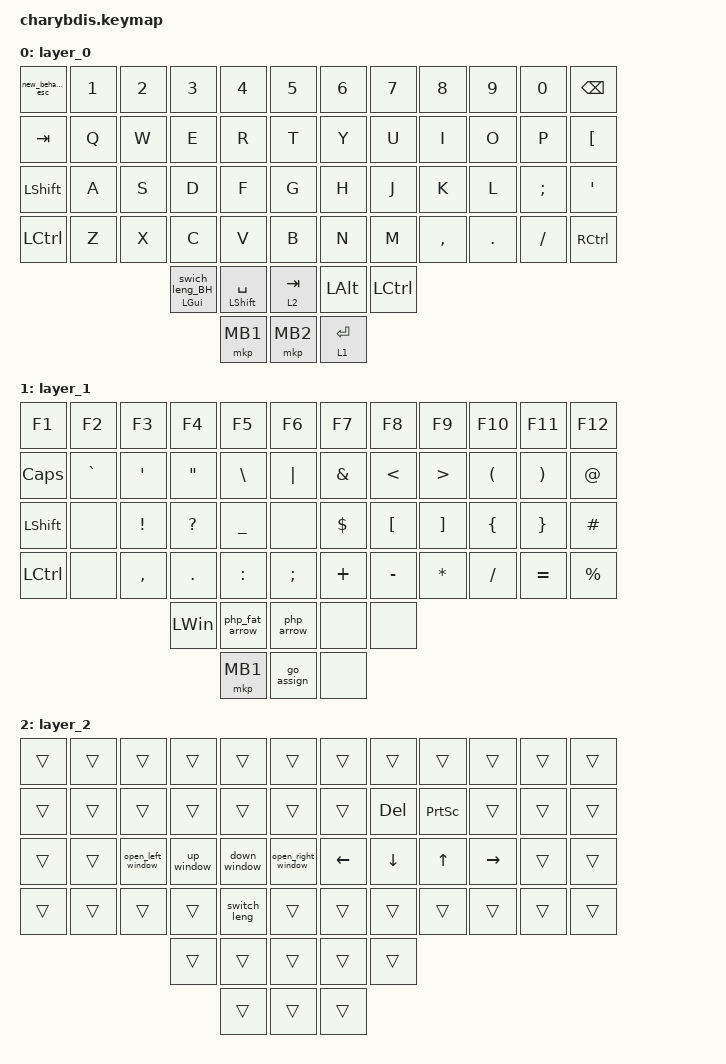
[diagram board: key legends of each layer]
#include <dt-bindings/zmk/mouse.h>
#include <behaviors.dtsi>
#include <dt-bindings/zmk/keys.h>
#include <dt-bindings/zmk/pointing.h>

&lt {
    tapping-term-ms = <200>;
    flavor = "balanced";
    quick-tap-ms = <150>;
};

/ {
    behaviors {
        swich_leng_BH: swich_leng_BH {
            compatible = "zmk,behavior-tap-dance";
            label = "SWICH_LENG_BH";
            #binding-cells = <0>;
            bindings = <&kp LGUI>, <&switch_leng>;
        };

        new_behavior_esc: new_behavior_esc {
            compatible = "zmk,behavior-tap-dance";
            label = "NEW_BEHAVIOR_ESC";
            #binding-cells = <0>;
            bindings = <&kp ESCAPE>, <&kp TILDE>;
        };

        space_and_hold_shift: space_and_hold_shift {
            compatible = "zmk,behavior-hold-tap";
            label = "SPACE_AND_HOLD_SHIFT";
            bindings = <&kp>, <&kp>;

            #binding-cells = <2>;
            tapping-term-ms = <200>;
            quick-tap-ms = <190>;
            flavor = "balanced";
        };

        switch_lang_and_hold: switch_lang_and_hold {
            compatible = "zmk,behavior-hold-tap";
            label = "SWITCH_LANG_AND_HOLD";
            bindings = <&kp>, <&swich_leng_BH>;

            #binding-cells = <2>;
            tapping-term-ms = <200>;
            quick-tap-ms = <200>;
            flavor = "balanced";
        };

        enter_hold_layer: enter_hold_layer {
            compatible = "zmk,behavior-hold-tap";
            label = "ENTER_HOLD_LAYER";
            bindings = <&mo>, <&kp>;

            #binding-cells = <2>;
            tapping-term-ms = <180>;
            quick-tap-ms = <190>;
            flavor = "balanced";
        };

        tab_hold_layer: tab_hold_layer {
            compatible = "zmk,behavior-hold-tap";
            label = "TAB_HOLD_LAYER";
            bindings = <&mo>, <&kp>;

            #binding-cells = <2>;
            tapping-term-ms = <180>;
            quick-tap-ms = <190>;
            flavor = "balanced";
        };
    };

    macros {
        switch_leng: switch_leng {
            compatible = "zmk,behavior-macro";
            #binding-cells = <0>;
            bindings = <&kp LG(SPACE)>;
            label = "SWITCH_LENG";
        };

        down_window: next_window {
            compatible = "zmk,behavior-macro";
            #binding-cells = <0>;
            bindings = <&kp LG(J)>;
            label = "NEXT_WINDOW";
        };

        up_window: pre_window {
            compatible = "zmk,behavior-macro";
            #binding-cells = <0>;
            bindings = <&kp LG(K)>;
            label = "PRE_WINDOW";
        };

        open_left_window: open_left_window {
            compatible = "zmk,behavior-macro";
            #binding-cells = <0>;
            bindings = <&kp LG(H)>;
            label = "OPEN_LEFT_WINDOW";
        };

        open_right_window: open_right_window {
            compatible = "zmk,behavior-macro";
            #binding-cells = <0>;
            bindings = <&kp LG(L)>;
            label = "OPEN_RIGHT_WINDOW";
        };

        go_assign: go_assign {
            compatible = "zmk,behavior-macro";
            #binding-cells = <0>;
            bindings = <&kp COLON &kp EQUAL>;
            label = "GO_ASSIGN";
        };

        php_arrow: php_arrow {
            compatible = "zmk,behavior-macro";
            #binding-cells = <0>;
            bindings = <&kp MINUS &kp GREATER_THAN>;
            label = "PHP_ARROW";
        };

        php_fat_arrow: php_fat_arrow {
            compatible = "zmk,behavior-macro";
            #binding-cells = <0>;
            bindings = <&kp EQUAL &kp GREATER_THAN>;
            label = "PHP_FAT_ARROW";
        };
    };

    keymap {
        compatible = "zmk,keymap";

        layer_0 {
            bindings = <
&new_behavior_esc  &kp N1  &kp N2  &kp N3                            &kp N4                                  &kp N5                   &kp N6                     &kp N7     &kp N8     &kp N9      &kp N0         &kp BACKSPACE
&kp TAB            &kp Q   &kp W   &kp E                             &kp R                                   &kp T                    &kp Y                      &kp U      &kp I      &kp O       &kp P          &kp LEFT_BRACKET
&kp LEFT_SHIFT     &kp A   &kp S   &kp D                             &kp F                                   &kp G                    &kp H                      &kp J      &kp K      &kp L       &kp SEMICOLON  &kp SQT
&kp LCTRL          &kp Z   &kp X   &kp C                             &kp V                                   &kp B                    &kp N                      &kp M      &kp COMMA  &kp PERIOD  &kp SLASH      &kp RCTRL
                                   &switch_lang_and_hold LEFT_GUI 0  &space_and_hold_shift LEFT_SHIFT SPACE  &tab_hold_layer 2 TAB    &kp LALT                   &kp LCTRL
                                                                     &mkp MB1                                &mkp MB2                 &enter_hold_layer 1 ENTER
            >;

            trackball-bindings = <&tmv_coarse>;
        };

        layer_1 {
            bindings = <
&kp F1          &kp F2     &kp F3           &kp F4             &kp F5          &kp F6           &kp F7         &kp F8            &kp F9             &kp F10               &kp F11                &kp F12
&kp CAPS        &kp GRAVE  &kp SQT          &kp DOUBLE_QUOTES  &kp BSLH        &kp PIPE         &kp AMPERSAND  &kp LESS_THAN     &kp GREATER_THAN   &kp LEFT_PARENTHESIS  &kp RIGHT_PARENTHESIS  &kp AT_SIGN
&kp LEFT_SHIFT  &none      &kp EXCLAMATION  &kp QUESTION       &kp UNDERSCORE  &none            &kp DOLLAR     &kp LEFT_BRACKET  &kp RIGHT_BRACKET  &kp LEFT_BRACE        &kp RIGHT_BRACE        &kp HASH
&kp LCTRL       &none      &kp COMMA        &kp DOT            &kp COLON       &kp SEMICOLON    &kp PLUS       &kp MINUS         &kp ASTRK          &kp SLASH             &kp EQUAL              &kp PERCENT
                                            &kp LEFT_WIN       &php_fat_arrow  &php_arrow       &none          &none
                                                               &mkp MB1        &go_assign       &none
            >;

            trackball-bindings = <&tsl>;
        };

        layer_2 {
            bindings = <
&trans  &trans  &trans             &trans      &trans        &trans                &trans          &trans    &trans           &trans     &trans  &trans
&trans  &trans  &trans             &trans      &trans        &trans                &trans          &kp DEL   &kp PRINTSCREEN  &trans     &trans  &trans
&trans  &trans  &open_left_window  &up_window  &down_window  &open_right_window    &kp LEFT_ARROW  &kp DOWN  &kp UP_ARROW     &kp RIGHT  &trans  &trans
&trans  &trans  &trans             &trans      &switch_leng  &trans                &trans          &trans    &trans           &trans     &trans  &trans
                                   &trans      &trans        &trans                &trans          &trans
                                               &trans        &trans                &trans
            >;
        };

        /* layer_2 {
            bindings = <
&none  &none   &none    &none   &none         &none         &kp N1         &none         &none     &none  &none   &to 0
&none  &none   &none    &none   &none         &none         &none         &none          &rgb_ug RGB_BRD &rgb_ug RGB_BRI  &rgb_ug RGB_EFF   &rgb_ug RGB_TOG
&none  &none   &none    &none   &none         &none         &none         &mkp LCLK     &mkp RCLK  &none  &none   &none
&none  &none   &none    &none   &bt BT_NXT  &bt BT_CLR    &none         &none         &none     &none  &none   &none
                                   &none         &none         &none         &none         &none
                                                 &none         &none         &none
            >;
          trackball-bindings = <&tsl>;
            
        };

       Mouse {
            bindings = <
&none        &none         &none         &none         &none      &none         &none       &none      &none         &none         &none         &none
&none        &bt BT_SEL 0  &bt BT_SEL 1  &bt BT_SEL 3  &none      &bt BT_CLR    &bt BT_CLR  &none      &bt BT_SEL 2  &bt BT_SEL 1  &bt BT_SEL 0  &none
&none        &trans        &trans        &mkp MCLK     &trans     &none         &none       &trans     &mkp MCLK     &trans        &trans        &none
&bootloader  &trans        &mkp RCLK     &mo 4         &mkp LCLK  &mo 5         &mo 5       &mkp LCLK  &mo 4         &mkp RCLK     &trans        &bootloader
                                         &mo 5         &mkp LCLK  &mkp RCLK     &mkp RCLK   &mkp LCLK
                                                       &none      &trans        &trans
            >;

            
        };

        layer_4 {
            bindings = <
&trans  &trans  &trans     &trans     &trans     &trans       &trans     &trans     &trans     &trans     &trans  &trans
&trans  &trans  &trans     &trans     &trans     &trans       &trans     &trans     &trans     &trans     &trans  &trans
&trans  &trans  &trans     &mkp MCLK  &trans     &trans       &trans     &trans     &mkp MCLK  &trans     &trans  &trans
&trans  &trans  &mkp RCLK  &trans     &mkp LCLK  &trans       &trans     &mkp LCLK  &trans     &mkp RCLK  &trans  &trans
                           &trans     &mkp LCLK  &mkp RCLK    &mkp RCLK  &mkp LCLK
                                      &trans     &trans       &trans
            >;
                
                
                trackball-bindings = <&tsl>;
        };

        layer_5 {
            bindings = <
&trans  &trans  &trans     &trans     &trans     &trans       &trans     &trans     &trans     &trans     &trans  &trans
&trans  &trans  &trans     &trans     &trans     &trans       &trans     &trans     &trans     &trans     &trans  &trans
&trans  &trans  &trans     &mkp MCLK  &trans     &trans       &trans     &trans     &mkp MCLK  &trans     &trans  &trans
&trans  &trans  &mkp RCLK  &trans     &mkp LCLK  &trans       &trans     &mkp LCLK  &trans     &mkp RCLK  &trans  &trans
                           &trans     &mkp LCLK  &mkp RCLK    &mkp RCLK  &mkp LCLK
                                      &trans     &trans       &trans
            >;
                trackball-bindings = <&tmv_fine>;
                
        };*/
    };
};
